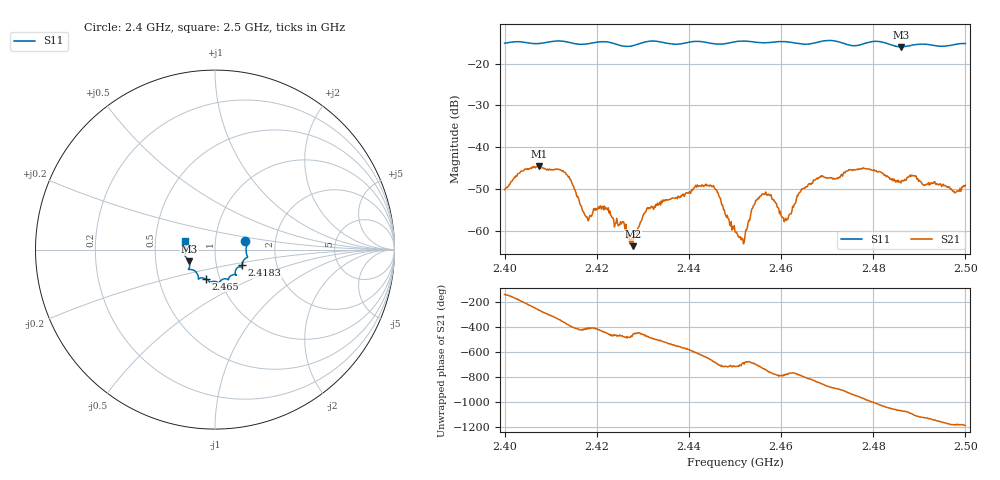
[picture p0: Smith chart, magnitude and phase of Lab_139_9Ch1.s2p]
# Hz S RI R 50
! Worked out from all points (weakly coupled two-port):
!   601 points, 2.4 GHz to 2.5 GHz, reference 50 ohm
!   highest |S21| = -44.64 dB at 2.4075 GHz (marker M1); lowest = -63.7 dB at 2.4278 GHz (marker M2)
!   lowest |S11| = -16.0 dB at 2.486 GHz (marker M3), VSWR 1.38, Z = 37.1 - j4.99 ohm
!   |S11| at or under -10 dB: start of sweep to end of sweep
!   S12 and S22 are empty: the file has one direction only
!   S11 on the Smith chart (normalised r, x): 2.4 GHz: 1.40, +0.13; 2.4183 GHz: 1.33, -0.24; 2.465 GHz: 0.86, -0.29; 2.5 GHz: 0.71, +0.07
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2.4e9  0.1688 0.0455  -0.00251 -0.00179  0 0  0 0
2.403333e9  0.1797 0.031  -0.00482 0.00105  0 0  0 0
2.4075e9  0.1734 -0.00943  -1.15e-05 0.00586  0 0  0 0
2.413167e9  0.1776 -0.0443  0.00485 -0.000956  0 0  0 0
2.416667e9  0.1553 -0.0684  0.0008 -0.00179  0 0  0 0
2.418333e9  0.15 -0.0871  0.000932 -0.00106  0 0  0 0
2.422e9  0.1523 -0.0998  -7.44e-06 -0.00187  0 0  0 0
2.427833e9  0.1141 -0.117  -0.000162 -0.00063  0 0  0 0
2.430667e9  0.1159 -0.1405  -0.000598 -0.00157  0 0  0 0
2.433333e9  0.1169 -0.1413  -0.00175 -0.00101  0 0  0 0
2.444833e9  0.0628 -0.1627  0.00196 0.00284  0 0  0 0
2.45e9  0.0253 -0.1808  0.000967 3.45e-05  0 0  0 0
2.451833e9  0.0212 -0.1847  0.000586 0.000373  0 0  0 0
2.454e9  0.0141 -0.181  0.00178 0.000869  0 0  0 0
2.456167e9  -0.00237 -0.1771  0.00261 -0.000764  0 0  0 0
2.461167e9  -0.0305 -0.1797  0.000601 -0.00118  0 0  0 0
2.465e9  -0.0524 -0.1621  0.000492 -0.00318  0 0  0 0
2.466667e9  -0.0711 -0.1579  -0.000833 -0.00359  0 0  0 0
2.477833e9  -0.1308 -0.1113  -0.00167 0.00539  0 0  0 0
2.483333e9  -0.1421 -0.0961  0.00366 0.00227  0 0  0 0
2.486e9  -0.144 -0.0655  0.00368 0.00053  0 0  0 0
2.5e9  -0.167 0.0472  -0.00106 -0.00333  0 0  0 0
